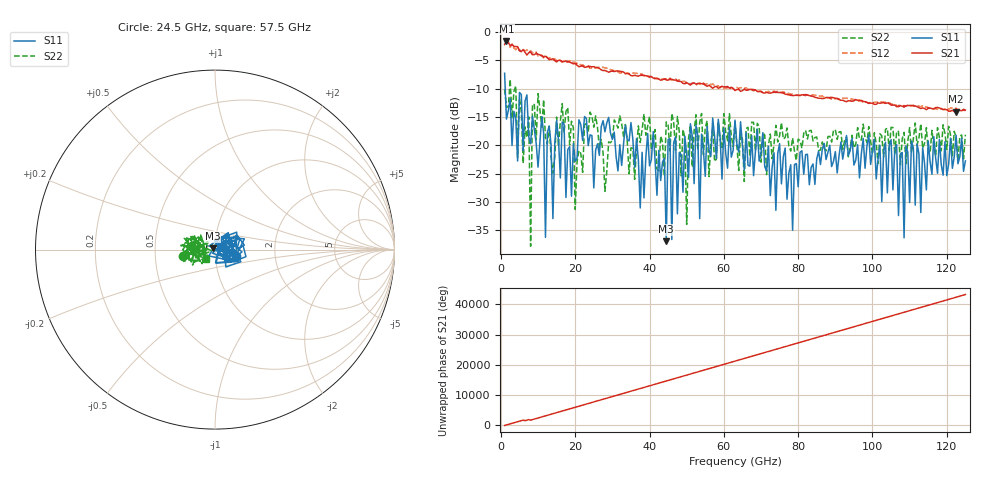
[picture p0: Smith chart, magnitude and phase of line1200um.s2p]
! Created with skrf 2.1.0 (http://scikit-rf.org).
# GHz S RI R 50.0
!freq ReS11 ImS11 ReS21 ImS21 ReS12 ImS12 ReS22 ImS22
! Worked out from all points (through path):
!   249 points, 1 GHz to 125 GHz, reference 50 ohm
!   highest |S21| = -1.55 dB at 1.5 GHz (marker M1); lowest = -14.1 dB at 122.5 GHz (marker M2)
!   lowest |S11| = -36.9 dB at 44.5 GHz (marker M3), VSWR 1.03, Z = 48.7 + j0.646 ohm
!   |S11| at or under -10 dB: 1.169 GHz to end of sweep
!   |S22| runs from -37.8 to -8.3 dB; largest |S21 - S12| = 0.1
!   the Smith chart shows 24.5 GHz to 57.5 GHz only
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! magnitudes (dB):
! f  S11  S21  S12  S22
! 1 GHz  -7.3  -2.2  -1.5  -10.1
! 1.5 GHz  -15.4  -1.5  -1.6  -13.3
! 7.5 GHz  -18.5  -3.6  -3.6  -15.0
! 8 GHz  -19.7  -3.5  -3.3  -37.8
! 8.5 GHz  -14.9  -4.0  -3.6  -12.7
! 10 GHz  -23.8  -3.9  -4.2  -10.9
! 22 GHz  -19.1  -6.0  -5.8  -24.8
! 42.5 GHz  -20.9  -8.3  -8.3  -24.5
! 44.5 GHz  -36.9  -8.5  -8.3  -15.9
! 45 GHz  -19.0  -8.5  -8.4  -16.4
! 46 GHz  -36.6  -8.3  -8.5  -14.4
! 46.5 GHz  -19.5  -8.4  -8.4  -15.9
! 50 GHz  -21.6  -8.9  -9.0  -34.0
! 51 GHz  -16.2  -9.4  -9.2  -16.5
! 53.5 GHz  -32.9  -9.0  -9.2  -16.0
! 63 GHz  -15.5  -10.3  -10.0  -15.8
! 84 GHz  -23.3  -11.4  -11.1  -19.2
! 104.5 GHz  -20.0  -12.6  -12.4  -20.9
! 108.5 GHz  -36.3  -13.2  -13.0  -17.7
! 109 GHz  -20.1  -13.0  -13.1  -23.3
! 122.5 GHz  -18.2  -14.1  -13.4  -18.7
! 125 GHz  -22.7  -13.8  -13.8  -18.1
